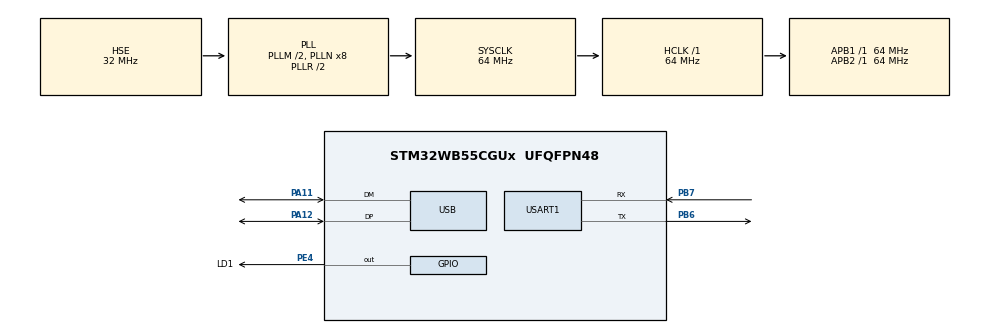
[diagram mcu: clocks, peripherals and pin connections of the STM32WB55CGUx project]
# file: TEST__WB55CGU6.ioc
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Mcu.Family=STM32WB
Mcu.Name=STM32WB55CGUx
Mcu.Package=UFQFPN48
NVIC.HSEM_IRQn=true\:0\:0\:false\:false\:true\:false\:true\:true
NVIC.IPCC_C1_RX_IRQn=true\:0\:0\:false\:false\:true\:true\:true\:true
NVIC.IPCC_C1_TX_IRQn=true\:0\:0\:false\:false\:true\:true\:true\:true
NVIC.PriorityGroup=NVIC_PRIORITYGROUP_4
NVIC.RTC_WKUP_IRQn=true\:0\:0\:false\:false\:true\:true\:true\:true
NVIC.USART1_IRQn=true\:0\:0\:false\:false\:true\:true\:true\:true
NVIC.USB_LP_IRQn=true\:0\:0\:false\:false\:true\:false\:true\:true
OSC_IN.Mode=HSE-External-Oscillator
OSC_IN.Signal=RCC_OSC_IN
OSC_OUT.Mode=HSE-External-Oscillator
OSC_OUT.Signal=RCC_OSC_OUT
PA11.Mode=Device
PA11.Signal=USB_DM
PA12.Mode=Device
PA12.Signal=USB_DP
PA13.Mode=Serial_Wire
PA13.Signal=SYS_JTMS-SWDIO
PA14.Mode=Serial_Wire
PA14.Signal=SYS_JTCK-SWCLK
PB6.Mode=Asynchronous
PB6.Signal=USART1_TX
PB7.Mode=Asynchronous
PB7.Signal=USART1_RX
PC14-OSC32_IN.Mode=LSE-External-Oscillator
PC14-OSC32_IN.Signal=RCC_OSC32_IN
PC15-OSC32_OUT.Mode=LSE-External-Oscillator
PC15-OSC32_OUT.Signal=RCC_OSC32_OUT
PE4.GPIO_Label=LD1
PE4.Signal=GPIO_Output
ProjectManager.HeapSize=0x200
ProjectManager.StackSize=0x400
ProjectManager.TargetToolchain=STM32CubeIDE
RCC.ADCFreq_Value=64000000
RCC.AHB2CLKDivider=RCC_SYSCLK_DIV2
RCC.AHBFreq_Value=64000000
RCC.APB1Freq_Value=64000000
RCC.APB1TimFreq_Value=64000000
RCC.APB2Freq_Value=64000000
RCC.APB2TimFreq_Value=64000000
RCC.APB3Freq_Value=16000000
RCC.CK48CLockSelection=RCC_USBCLKSOURCE_HSI48
RCC.CortexFreq_Value=64000000
RCC.HCLKFreq_Value=64000000
RCC.HSE_VALUE=32000000
RCC.HSI48_VALUE=48000000
RCC.HSI_VALUE=16000000
RCC.PLLM=RCC_PLLM_DIV2
RCC.PLLSourceVirtual=RCC_PLLSOURCE_HSE
RCC.RFWKPClockSelection=RCC_RFWKPCLKSOURCE_LSE
RCC.RTCClockSelection=RCC_RTCCLKSOURCE_LSE
RCC.SMPSCLockSelection=RCC_SMPSCLKSOURCE_HSE
RCC.SMPSDivider=4
RCC.SYSCLKFreq_VALUE=64000000
RCC.SYSCLKSource=RCC_SYSCLKSOURCE_PLLCLK
RCC.USBFreq_Value=48000000
RCC.VCOOutputFreq_Value=128000000
RF1.Mode=RF1_Activate
RF1.Signal=RF_RF1
RTC.AsynchPrediv=CFG_RTC_ASYNCH_PRESCALER
RTC.WeekDay=RTC_WEEKDAY_MONDAY
RTC.Year=0
STM32_WPAN.BLE_DBG_APP_EN=0
STM32_WPAN.CFG_LSCLK_LSE=0
USART1.VirtualMode-Asynchronous=VM_ASYNC
USB_DEVICE.CLASS_NAME_FS=CDC
USB_DEVICE.VirtualMode=Cdc
USB_DEVICE.VirtualModeFS=Cdc_FS
VP_HSEM_VS_HSEM.Mode=HSEM_Activate
VP_IPCC_VS_IPCC.Mode=IPCC_Activate
VP_MEMORYMAP_VS_MEMORYMAP.Mode=CurAppReg
VP_RTC_VS_RTC_Activate.Mode=RTC_Enabled
VP_RTC_VS_RTC_Calendar.Mode=RTC_Calendar
VP_RTC_VS_RTC_WakeUp_intern.Mode=WakeUp
VP_SEQUENCER_VS_SEQUENCER.Mode=SEQUENCER_Enabled
VP_STM32_WPAN_VS_BLE_HOST.Mode=STM32_WPAN_Enabled
VP_TINY_LPM_VS_TINY_LPM.Mode=TINY_LPM_Enabled
VP_USB_DEVICE_VS_USB_DEVICE_CDC_FS.Mode=CDC_FS
board=custom

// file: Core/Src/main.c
/* USER CODE BEGIN Header */
/**
  ******************************************************************************
  * @file           : main.c
  * @brief          : Main program body
  ******************************************************************************
  * @attention
  *
  * Copyright (c) 2025 STMicroelectronics.
  * All rights reserved.
  *
  * This software is licensed under terms that can be found in the LICENSE file
  * in the root directory of this software component.
  * If no LICENSE file comes with this software, it is provided AS-IS.
  *
  ******************************************************************************
  */
/* USER CODE END Header */
#include "main.h"
#include "usb_device.h"

/* USER CODE BEGIN Includes */
#include "printf_remapping.h"
/* USER CODE END Includes */

IPCC_HandleTypeDef hipcc;

RTC_HandleTypeDef hrtc;

UART_HandleTypeDef huart1;

void SystemClock_Config(void);
void PeriphCommonClock_Config(void);
static void MX_RF_Init(void);
static void MX_GPIO_Init(void);
static void MX_IPCC_Init(void);
static void MX_RTC_Init(void);
static void MX_USART1_UART_Init(void);

/* USER CODE BEGIN 0 */

extern uint16_t cli_buffer_queue_object_counts;

uint8_t vcom_printout_throughput_test_on = 0;

/* USER CODE END 0 */

int main(void)
{

  /* MCU Configuration--------------------------------------------------------*/

  /* Reset of all peripherals, Initializes the Flash interface and the Systick. */
  HAL_Init();
  /* Config code for STM32_WPAN (HSE Tuning must be done before system clock configuration) */
  MX_APPE_Config();

  /* Configure the system clock */
  SystemClock_Config();

  /* Configure the peripherals common clocks */
  PeriphCommonClock_Config();

  /* IPCC initialisation */
  MX_IPCC_Init();

  /* Initialize all configured peripherals */
  MX_RF_Init();
  MX_GPIO_Init();
  MX_USB_Device_Init();
  MX_RTC_Init();
  MX_USART1_UART_Init();
  /* USER CODE BEGIN 2 */
  printf_remapping_init();
  /* USER CODE END 2 */

  /* Init code for STM32_WPAN */
  MX_APPE_Init();

  /* Infinite loop */
  /* USER CODE BEGIN WHILE */

  char args[3][64];

  printf("##### WB55CGU6 Study Project Started ##### %s %s\n", __DATE__,__TIME__);
  while (1)
  {
    /* USER CODE END WHILE */
    MX_APPE_Process();

    /* USER CODE BEGIN 3 */

    printf_remapping_process();

    static uint32_t timer500ms_tickstore = 0;

    if(timer500ms_tickstore + 500 <= HAL_GetTick())
    {
      timer500ms_tickstore = HAL_GetTick();

      HAL_GPIO_TogglePin(LD1_GPIO_Port, LD1_Pin);

//      printf("Hello There\n");
    }

    if(cli_enter_avilable)
    {
      cli_enter_avilable = 0;

      printf("Hello There\n");
    }

    if(cli_line_available)
    {
      cli_line_available = 0;

      printf("CMD(%d):%s\n", cli_line_datalen, cli_line_data);

      memset(args, 0, sizeof(args));

      char *ptr = strtok((char*)cli_line_data, " ");

      uint8_t i=0;
      while(ptr != NULL)
      {
        strcpy(args[i], ptr);
        ptr = strtok(NULL, " ");
        i++;
        if(i == 3) break;
      }

      if(strcmp(args[0], "Hello") == 0)
      {
        printf("There\n");
      }

    }

  }
  /* USER CODE END 3 */
}

void SystemClock_Config(void)
{
  RCC_OscInitTypeDef RCC_OscInitStruct = {0};
  RCC_ClkInitTypeDef RCC_ClkInitStruct = {0};

  /** Configure LSE Drive Capability
  */
  HAL_PWR_EnableBkUpAccess();
  __HAL_RCC_LSEDRIVE_CONFIG(RCC_LSEDRIVE_MEDIUMHIGH);

  /** Configure the main internal regulator output voltage
  */
  __HAL_PWR_VOLTAGESCALING_CONFIG(PWR_REGULATOR_VOLTAGE_SCALE1);

  /** Initializes the RCC Oscillators according to the specified parameters
  * in the RCC_OscInitTypeDef structure.
  */
  RCC_OscInitStruct.OscillatorType = RCC_OSCILLATORTYPE_HSI48|RCC_OSCILLATORTYPE_HSI
                              |RCC_OSCILLATORTYPE_HSE|RCC_OSCILLATORTYPE_LSE;
  RCC_OscInitStruct.HSEState = RCC_HSE_ON;
  RCC_OscInitStruct.LSEState = RCC_LSE_ON;
  RCC_OscInitStruct.HSIState = RCC_HSI_ON;
  RCC_OscInitStruct.HSI48State = RCC_HSI48_ON;
  RCC_OscInitStruct.HSICalibrationValue = RCC_HSICALIBRATION_DEFAULT;
  RCC_OscInitStruct.PLL.PLLState = RCC_PLL_ON;
  RCC_OscInitStruct.PLL.PLLSource = RCC_PLLSOURCE_HSE;
  RCC_OscInitStruct.PLL.PLLM = RCC_PLLM_DIV2;
  RCC_OscInitStruct.PLL.PLLN = 8;
  RCC_OscInitStruct.PLL.PLLP = RCC_PLLP_DIV2;
  RCC_OscInitStruct.PLL.PLLR = RCC_PLLR_DIV2;
  RCC_OscInitStruct.PLL.PLLQ = RCC_PLLQ_DIV2;
  if (HAL_RCC_OscConfig(&RCC_OscInitStruct) != HAL_OK)
  {
    Error_Handler();
  }

  /** Configure the SYSCLKSource, HCLK, PCLK1 and PCLK2 clocks dividers
  */
  RCC_ClkInitStruct.ClockType = RCC_CLOCKTYPE_HCLK4|RCC_CLOCKTYPE_HCLK2
                              |RCC_CLOCKTYPE_HCLK|RCC_CLOCKTYPE_SYSCLK
                              |RCC_CLOCKTYPE_PCLK1|RCC_CLOCKTYPE_PCLK2;
  RCC_ClkInitStruct.SYSCLKSource = RCC_SYSCLKSOURCE_PLLCLK;
  RCC_ClkInitStruct.AHBCLKDivider = RCC_SYSCLK_DIV1;
  RCC_ClkInitStruct.APB1CLKDivider = RCC_HCLK_DIV1;
  RCC_ClkInitStruct.APB2CLKDivider = RCC_HCLK_DIV1;
  RCC_ClkInitStruct.AHBCLK2Divider = RCC_SYSCLK_DIV2;
  RCC_ClkInitStruct.AHBCLK4Divider = RCC_SYSCLK_DIV1;

  if (HAL_RCC_ClockConfig(&RCC_ClkInitStruct, FLASH_LATENCY_3) != HAL_OK)
  {
    Error_Handler();
  }
}

void PeriphCommonClock_Config(void)
{
  RCC_PeriphCLKInitTypeDef PeriphClkInitStruct = {0};

  /** Initializes the peripherals clock
  */
  PeriphClkInitStruct.PeriphClockSelection = RCC_PERIPHCLK_SMPS|RCC_PERIPHCLK_RFWAKEUP;
  PeriphClkInitStruct.RFWakeUpClockSelection = RCC_RFWKPCLKSOURCE_LSE;
  PeriphClkInitStruct.SmpsClockSelection = RCC_SMPSCLKSOURCE_HSE;
  PeriphClkInitStruct.SmpsDivSelection = RCC_SMPSCLKDIV_RANGE1;

  if (HAL_RCCEx_PeriphCLKConfig(&PeriphClkInitStruct) != HAL_OK)
  {
    Error_Handler();
  }
}

static void MX_IPCC_Init(void)
{

  hipcc.Instance = IPCC;
  if (HAL_IPCC_Init(&hipcc) != HAL_OK)
  {
    Error_Handler();
  }

}

static void MX_RF_Init(void)
{

}

static void MX_RTC_Init(void)
{

  RTC_TimeTypeDef sTime = {0};
  RTC_DateTypeDef sDate = {0};

  /** Initialize RTC Only
  */
  hrtc.Instance = RTC;
  hrtc.Init.HourFormat = RTC_HOURFORMAT_24;
  hrtc.Init.AsynchPrediv = CFG_RTC_ASYNCH_PRESCALER;
  hrtc.Init.SynchPrediv = CFG_RTC_SYNCH_PRESCALER;
  hrtc.Init.OutPut = RTC_OUTPUT_DISABLE;
  hrtc.Init.OutPutPolarity = RTC_OUTPUT_POLARITY_HIGH;
  hrtc.Init.OutPutType = RTC_OUTPUT_TYPE_OPENDRAIN;
  hrtc.Init.OutPutRemap = RTC_OUTPUT_REMAP_NONE;
  if (HAL_RTC_Init(&hrtc) != HAL_OK)
  {
    Error_Handler();
  }

  /** Initialize RTC and set the Time and Date
  */
  sTime.Hours = 0x0;
  sTime.Minutes = 0x0;
  sTime.Seconds = 0x0;
  sTime.SubSeconds = 0x0;
  sTime.DayLightSaving = RTC_DAYLIGHTSAVING_NONE;
  sTime.StoreOperation = RTC_STOREOPERATION_RESET;
  if (HAL_RTC_SetTime(&hrtc, &sTime, RTC_FORMAT_BCD) != HAL_OK)
  {
    Error_Handler();
  }
  sDate.WeekDay = RTC_WEEKDAY_MONDAY;
  sDate.Month = RTC_MONTH_JANUARY;
  sDate.Date = 0x1;
  sDate.Year = 0x0;

  if (HAL_RTC_SetDate(&hrtc, &sDate, RTC_FORMAT_BCD) != HAL_OK)
  {
    Error_Handler();
  }

  /** Enable the WakeUp
  */
  if (HAL_RTCEx_SetWakeUpTimer_IT(&hrtc, 0, RTC_WAKEUPCLOCK_RTCCLK_DIV16) != HAL_OK)
  {
    Error_Handler();
  }

}

static void MX_USART1_UART_Init(void)
{

  huart1.Instance = USART1;
  huart1.Init.BaudRate = 115200;
  huart1.Init.WordLength = UART_WORDLENGTH_8B;
  huart1.Init.StopBits = UART_STOPBITS_1;
  huart1.Init.Parity = UART_PARITY_NONE;
  huart1.Init.Mode = UART_MODE_TX_RX;
  huart1.Init.HwFlowCtl = UART_HWCONTROL_NONE;
  huart1.Init.OverSampling = UART_OVERSAMPLING_16;
  huart1.Init.OneBitSampling = UART_ONE_BIT_SAMPLE_DISABLE;
  huart1.Init.ClockPrescaler = UART_PRESCALER_DIV1;
  huart1.AdvancedInit.AdvFeatureInit = UART_ADVFEATURE_NO_INIT;
  if (HAL_UART_Init(&huart1) != HAL_OK)
  {
    Error_Handler();
  }
  if (HAL_UARTEx_SetTxFifoThreshold(&huart1, UART_TXFIFO_THRESHOLD_1_8) != HAL_OK)
  {
    Error_Handler();
  }
  if (HAL_UARTEx_SetRxFifoThreshold(&huart1, UART_RXFIFO_THRESHOLD_1_8) != HAL_OK)
  {
    Error_Handler();
  }
  if (HAL_UARTEx_DisableFifoMode(&huart1) != HAL_OK)
  {
    Error_Handler();
  }

}

static void MX_GPIO_Init(void)
{
  GPIO_InitTypeDef GPIO_InitStruct = {0};

  /* GPIO Ports Clock Enable */
  __HAL_RCC_GPIOC_CLK_ENABLE();
  __HAL_RCC_GPIOE_CLK_ENABLE();
  __HAL_RCC_GPIOA_CLK_ENABLE();
  __HAL_RCC_GPIOB_CLK_ENABLE();

  /*Configure GPIO pin Output Level */
  HAL_GPIO_WritePin(LD1_GPIO_Port, LD1_Pin, GPIO_PIN_RESET);

  /*Configure GPIO pin : LD1_Pin */
  GPIO_InitStruct.Pin = LD1_Pin;
  GPIO_InitStruct.Mode = GPIO_MODE_OUTPUT_PP;
  GPIO_InitStruct.Pull = GPIO_NOPULL;
  GPIO_InitStruct.Speed = GPIO_SPEED_FREQ_LOW;
  HAL_GPIO_Init(LD1_GPIO_Port, &GPIO_InitStruct);

}

void Error_Handler(void)
{
  __disable_irq();
  while (1)
  {
  }
}
